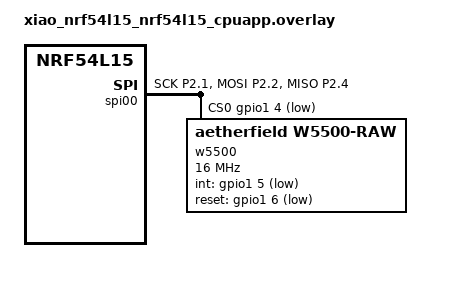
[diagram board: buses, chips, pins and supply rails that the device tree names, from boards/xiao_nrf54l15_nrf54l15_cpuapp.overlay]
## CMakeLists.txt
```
cmake_minimum_required(VERSION 3.20.0)
find_package(Zephyr REQUIRED HINTS $ENV{ZEPHYR_BASE})

project(pixel-gateway)

# aura_radio.h — the source of truth for the wire format. Shared with the
# device firmware so the two cannot drift.
target_include_directories(app PRIVATE ${CMAKE_CURRENT_SOURCE_DIR}/../../include)

target_sources(app PRIVATE
  src/main.c
  src/w5500.c
  src/link.c
  src/status.c
  src/link_cfg.c
)
```

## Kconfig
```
# Aetherfield gateway application options.
#
# GW_INDEX is a Kconfig symbol rather than a bare #define so it can be set from
# a .conf fragment per build configuration. That matters when flashing several
# gateways in a row: editing a header between builds is how two gateways end up
# both claiming 10.10.0.11, which works perfectly until all of them are live.

menu "Aetherfield gateway"

config GW_INDEX
	int "Gateway index within this server's group (1..30)"
	default 1
	range 1 30
	help
	  Sets three things at once, all of which must be unique per gateway:
	    the HELLO name     gw-01 .. gw-30
	    the static IP      10.10.0.11 .. 10.10.0.40
	    the TCP source port 50001 .. 50030

	  It ALSO sets this gateway's slot in the downlink stagger, so at 30
	  gateways they do not all transmit the same command on the same
	  millisecond. See GW_CMD_STAGGER_MS in gw_config.h.

	  Pick it with an extra Kconfig fragment (gw01.conf, gw02.conf, ...)
	  rather than by editing a file, so every gateway builds from identical
	  source.

endmenu

source "Kconfig.zephyr"
```

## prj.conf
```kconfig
# Aetherfield Pixel gateway — XIAO nRF54LM20A + W5500.
#
# Note what is NOT here: CONFIG_NET_L2_ETHERNET, CONFIG_NET_IPV4,
# CONFIG_NET_SOCKETS. The W5500 runs its own TCP stack in silicon and we drive
# it over SPI, so Zephyr's networking subsystem stays out of the image. That is
# what lets the 802.15.4 raw path keep owning net_recv_data() — turning on the
# IP stack would put Zephyr's Ethernet driver in the same symbol.

# --- 802.15.4 raw mode: unchanged from the working gateway firmware ---------
CONFIG_NETWORKING=y
CONFIG_IEEE802154=y
CONFIG_IEEE802154_RAW_MODE=y
CONFIG_NET_PKT_TIMESTAMP=y
CONFIG_NRF_802154_RX_BUFFERS=48

# net_recv_data() — our frame handler — runs on this driver thread, and it
# formats and queues a telemetry line per frame. The stock 1024 bytes is sized
# for a driver that hands the packet straight up a stack, not for one that does
# work in place. Headroom here is cheap; a stack overflow on the first received
# frame is not.
CONFIG_IEEE802154_NRF5_RX_STACK_SIZE=2048

CONFIG_MAIN_STACK_SIZE=2048
CONFIG_HEAP_MEM_POOL_SIZE=8192

# --- W5500 ------------------------------------------------------------------
CONFIG_SPI=y
CONFIG_GPIO=y
# MAC address is derived from the SoC's factory device ID.
CONFIG_HWINFO=y

# --- console / shell --------------------------------------------------------
# The shell is not a convenience here: link.c routes every inbound server
# command through shell_execute_cmd(), so the command table IS the network
# command surface. Disabling the shell disables downlink.
CONFIG_SHELL=y
CONFIG_SHELL_BACKEND_SERIAL=y
# Required for downlink. link.c runs server commands on the dummy backend;
# without this, shell_execute_cmd() refuses every command with -EINVAL and the
# failure looks exactly like a malformed argument list.
CONFIG_SHELL_BACKEND_DUMMY=y
CONFIG_SHELL_VT100_COLORS=n
# Async telemetry from the radio thread interleaves with the shell prompt, and
# the shell redraws it with VT100 cursor moves that land mid-line and break any
# parser reading it.
CONFIG_SHELL_VT100_COMMANDS=n

CONFIG_LOG=y
CONFIG_LOG_MODE_DEFERRED=y

# RF switch power/control are regulator-fixed nodes with regulator-boot-on;
# without this the RF switch IC is never powered and there is NO antenna path.
CONFIG_REGULATOR=y

# --- persistent network config (src/link_cfg.c) -----------------------------
# Set over USB with `link set ...` / `link save`, kept across reboots. ZMS is
# the store Nordic recommends for the nRF54's RRAM. The partition manager
# carves a settings_storage partition out automatically.
CONFIG_FLASH=y
CONFIG_FLASH_MAP=y
CONFIG_ZMS=y
CONFIG_SETTINGS=y
CONFIG_SETTINGS_ZMS=y
CONFIG_REBOOT=y
```

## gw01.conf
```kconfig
# Gateway 1: 10.10.0.11, HELLO gw-01, source port 50001, stagger slot 0.
CONFIG_GW_INDEX=1
```

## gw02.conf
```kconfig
# Gateway 2: 10.10.0.12, HELLO gw-02, source port 50002, stagger slot 1.
CONFIG_GW_INDEX=2
```

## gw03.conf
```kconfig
# Gateway 3: 10.10.0.13, HELLO gw-03, source port 50003, stagger slot 2.
CONFIG_GW_INDEX=3
```

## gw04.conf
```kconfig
# Gateway 4: 10.10.0.14, HELLO gw-04, source port 50004, stagger slot 3.
CONFIG_GW_INDEX=4
```

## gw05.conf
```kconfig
# Gateway 5: 10.10.0.15, HELLO gw-05, source port 50005, stagger slot 4.
CONFIG_GW_INDEX=5
```

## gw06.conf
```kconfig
# Gateway 6: 10.10.0.16, HELLO gw-06, source port 50006, stagger slot 5.
CONFIG_GW_INDEX=6
```

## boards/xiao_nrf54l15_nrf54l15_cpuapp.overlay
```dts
/*
 * Fallback board target: Seeed XIAO nRF54L15 + Adafruit W5500.
 *
 * Identical harness. The XIAO header pinout is the same physical connector on
 * both boards, so nothing needs rewiring to swap between them — only the SoC
 * pins behind those header positions differ:
 *
 *   header    nRF54L15        nRF54LM20A
 *   D8  SCK   P2.01           P1.04
 *   D9  MISO  P2.04           P1.05
 *   D10 MOSI  P2.02           P1.06
 *   D0  CS    P1.04           P1.00
 *   D1  INT   P1.05           P1.31
 *   D2  RST   P1.06           P1.30
 *
 * This target exists because the nRF54LM20A needs nRF Connect SDK 3.2.4 or
 * later, and the radio code in main.c was proven on 3.0.1. Building here keeps
 * the SDK constant while the Ethernet path is brought up, so a failure is
 * unambiguously the new code rather than the new SDK.
 *
 * Power the breakout from 5V, not 3V3 — the W5500 pulls ~150 mA with the link
 * up.
 */

/ {
	chosen {
		/* uart20 is bridged to USB-C by the onboard SAMD11. */
		zephyr,console = &uart20;
		zephyr,shell-uart = &uart20;
	};
};

&pinctrl {
	spi00_default: spi00_default {
		group1 {
			psels = <NRF_PSEL(SPIM_SCK, 2, 1)>,    /* D8  */
				<NRF_PSEL(SPIM_MOSI, 2, 2)>,   /* D10 */
				<NRF_PSEL(SPIM_MISO, 2, 4)>;   /* D9  */
		};
	};

	spi00_sleep: spi00_sleep {
		group1 {
			psels = <NRF_PSEL(SPIM_SCK, 2, 1)>,
				<NRF_PSEL(SPIM_MOSI, 2, 2)>,
				<NRF_PSEL(SPIM_MISO, 2, 4)>;
			low-power-enable;
		};
	};
};

&spi00 {
	status = "okay";
	pinctrl-0 = <&spi00_default>;
	pinctrl-1 = <&spi00_sleep>;
	pinctrl-names = "default", "sleep";

	cs-gpios = <&gpio1 4 GPIO_ACTIVE_LOW>;   /* D0 */

	w5500: w5500@0 {
		compatible = "aetherfield,w5500-raw";
		reg = <0>;
		spi-max-frequency = <16000000>;
		int-gpios   = <&gpio1 5 GPIO_ACTIVE_LOW>;   /* D1 */
		reset-gpios = <&gpio1 6 GPIO_ACTIVE_LOW>;   /* D2 */
	};
};
```

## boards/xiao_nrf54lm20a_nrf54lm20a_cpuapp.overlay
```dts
/*
 * Aetherfield Pixel gateway — Seeed XIAO nRF54LM20A on the Seeed XIAO W5500
 * Ethernet Adapter.
 *
 * The adapter's wiring is fixed, so there is nothing to choose here:
 *
 *   W5500 SCK   D8    P1.04   |
 *   W5500 MISO  D9    P1.05   |  spi23, the XIAO SPI header
 *   W5500 MOSI  D10   P1.06   |
 *   W5500 CS    D1    P1.31
 *   W5500 INT   not routed    the driver polls, so this costs us nothing
 *   W5500 RST   not routed    software reset (MR bit 7) brings the chip up
 *
 * Power comes from the adapter — PoE stepped down by its TPS563201, or its own
 * USB-C — so the earlier warning about not feeding the breakout from the
 * XIAO's 3V3 regulator no longer applies.
 *
 * For a hand-wired build instead of this adapter, CS/INT/RST were on D0/D1/D2
 * (P1.00 / P1.31 / P1.30); add int-gpios and reset-gpios back and the driver
 * will use the hard reset.
 *
 * Note spi23, not spi00. On this board the XIAO SPI header is spi23, aliased
 * xiao_spi; spi00 is a different instance and is not brought out.
 *
 * D6/D7 are left alone so uart21 stays available as a second console. The
 * board already chooses uart20 (bridged to USB-C by the onboard SAMD11) for
 * console and shell, and already sets zephyr,ieee802154 — so neither needs
 * declaring here.
 */

&xiao_spi {
	status = "okay";

	/* The adapter ties CS to D1. This is the whole list; the W5500 is
	 * entry 0. */
	cs-gpios = <&gpio1 31 GPIO_ACTIVE_LOW>;   /* D1 */

	w5500: w5500@0 {
		compatible = "aetherfield,w5500-raw";
		reg = <0>;
		/* 16 MHz. The part will do far more, but leave margin for a
		 * stacked carrier board. */
		spi-max-frequency = <16000000>;

		/* No int-gpios: INT is not routed on this adapter, and the
		 * driver polls anyway.
		 * No reset-gpios: RSTn is not routed either, so w5500_init()
		 * uses the chip's software reset. */
	};
};

/*
 * Native USB off.
 *
 * Disable the WRAPPER, not just the device. The SoC devicetree nests them:
 *
 *   usbhs_wrapper@5a000   compatible "nordic,nrf-usbhs-wrapper"
 *     regulator = <&vregusb>
 *     usbhs@20000         compatible "nordic,nrf-usbhs-nrf54l", aliased
 *                         zephyr_udc0, which is what the board turns on
 *
 * Disabling only the inner usbhs leaves the wrapper enabled by default, and
 * the wrapper's driver does DEVICE_DT_GET on its `regulator` phandle. With no
 * USB stack in the build the VREGUSB device is never instantiated, so the
 * reference does not resolve and the build dies with
 * '__device_dts_ord_162 undeclared' — which reads like devicetree corruption
 * and is really an unused driver reaching for a device that isn't there.
 *
 * We have no use for native USB: the console reaches USB-C through the onboard
 * SAMD11 on uart20, and the server link is Ethernet.
 */
&usbhs_wrapper {
	status = "disabled";
};

&usbhs {
	status = "disabled";
};

/*
 * The board's IMU is not fitted on the plain (non-Sense) XIAO, so its driver
 * fails at boot with "LSM6DSL: Failed to initialize chip". Harmless, but an
 * error line on every boot of event infrastructure trains people to ignore
 * error lines. The gateway has no use for an IMU either way.
 */
&lsm6ds3tr_c {
	status = "disabled";
};
```

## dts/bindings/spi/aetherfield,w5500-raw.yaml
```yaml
# WIZnet W5500 addressed directly through its own hardware TCP sockets.
#
# Deliberately NOT "wiznet,w5500": that compatible binds Zephyr's Ethernet
# driver, which pushes frames up the IP stack through net_recv_data() — the
# same symbol the raw 802.15.4 receive path already owns. Driving the W5500's
# on-chip TCP stack instead keeps Zephyr networking out of the image entirely,
# so the radio code needs no changes at all.

description: WIZnet W5500 driven via its on-chip TCP/IP stack

compatible: "aetherfield,w5500-raw"

include: spi-device.yaml

properties:
  int-gpios:
    type: phandle-array
    required: false
    description: >
      W5500 INTn, active low. Unused — the driver polls. Seeed's XIAO W5500
      adapter does not route it at all.

  reset-gpios:
    type: phandle-array
    required: false
    description: >
      W5500 RSTn, active low, held low >500us. OPTIONAL: Seeed's XIAO W5500
      adapter does not route it. When absent the driver relies on the chip's
      software reset (MR bit 7), which is sufficient — the hard reset is only
      belt and braces for flying-lead builds.
```

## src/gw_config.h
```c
/*
 * Per-gateway configuration.
 *
 * Static addressing, deliberately. On a dedicated event LAN there is no DHCP
 * server worth depending on at 3am, and a fixed address means "which gateway
 * is that" is answerable from a switch port. The last octet is the gateway
 * number plus ten, so gw-01 is .11 and gw-30 is .40.
 *
 * Override any of these at build time without editing the file:
 *   west build -- -DCONFIG_... no; these are plain defines, so use:
 *   -DEXTRA_CFLAGS="-DGW_INDEX=2"
 */
#ifndef GW_CONFIG_H
#define GW_CONFIG_H

/*
 * 1..30 within a server's group. Sets the IP, the HELLO name, the source port
 * and the downlink stagger slot.
 *
 * Set it with a Kconfig fragment — gw01.conf .. gw30.conf — so every gateway
 * builds from identical source and nothing has to be edited between flashes.
 * The plain -DGW_INDEX= route still works for a one-off from the command line.
 */
#ifndef GW_INDEX
#ifdef CONFIG_GW_INDEX
#define GW_INDEX CONFIG_GW_INDEX
#else
#define GW_INDEX 1
#endif
#endif

/* Server (the Beelink) and the port aetherfield-pixel listens on. */
#define GW_SERVER_IP    "10.10.0.1"
#define GW_SERVER_PORT  9000

/* This gateway. */
#define GW_IP_PREFIX    "10.10.0."
#define GW_IP_BASE      10          /* + GW_INDEX  ->  10.10.0.11 for gw-01 */
#define GW_NETMASK      "255.255.255.0"
#define GW_ROUTER       "10.10.0.254"

/* Local TCP source port. Distinct per gateway only to make packet captures
 * easier to read; the server does not care. */
#define GW_LOCAL_PORT   (50000 + GW_INDEX)

/*
 * Link timings, from docs/PROTOCOL.md.
 *   PING when idle so NAT and switch state stay alive and both ends get a
 *   liveness signal; reconnect forever, because the server never dials out
 *   and a gateway that gives up is gone until someone power-cycles it.
 */
#define GW_PING_INTERVAL_MS   25000
#define GW_RECONNECT_MIN_MS   500
#define GW_RECONNECT_MAX_MS   15000

/*
 * Downlink stagger.
 *
 * The server broadcasts one command and every gateway receives it within a
 * few milliseconds of every other. Each then transmits AURA_CMD_REPEAT frames.
 * At three gateways that is invisible; at thirty it is 90 frames inside 75 ms
 * from thirty transmitters that can all hear each other, so they collide with
 * each other AND jam every device beacon in the building — at precisely the
 * moment the show is trying to change colour.
 *
 * Each gateway therefore waits (GW_INDEX - 1) * this before its first frame.
 * At 30 gateways that spreads transmission over 87 ms, which is below the
 * threshold at which a crowd reads a colour change as anything but
 * simultaneous.
 *
 * Better still, and the reason SYNC carries epoch_ms: send the apply-time
 * with the command so devices act together regardless of which gateway
 * reached them and when. The stagger fixes the collisions; the epoch fixes
 * the simultaneity. They are complementary, not alternatives.
 */
#define GW_CMD_STAGGER_MS     3

/*
 * Outbound line buffer.
 *
 * 4096 was sized for "a few hundred devices at 10 s", which is a few hundred
 * bytes a second. A gateway hearing 3,000 devices emits a '<BCN' and its
 * legacy 'NODE:' twin per beacon — around 86 kB/s at 675 beacons/s — and 4 kB
 * is then 48 ms of slack. Any hiccup longer than that starts discarding
 * telemetry, and because the drop policy is oldest-first the loss is silent.
 *
 * 16 kB is ~190 ms at that rate: enough to ride out a command's transmit
 * gaps and a slow socket write, and still trivial against this SoC's RAM.
 */
#define GW_TXQ_BYTES          16384
#define GW_LINE_MAX           256

/*
 * Console mirror budget, in lines per second.
 *
 * gw_emit() mirrors every telemetry line to the UART so a human on USB sees
 * what the server sees. At 115200 baud that is about 90 short lines a second,
 * full stop — and a gateway hearing 3,000 devices produces many times that.
 * printk() then blocks the radio receive thread and the gateway drops frames,
 * which looks exactly like RF saturation and is not.
 *
 * Above this budget the mirror starts dropping lines and says so once a
 * second. The LINK is never throttled: the server still gets everything. Only
 * the human's view degrades, which is the correct thing to sacrifice.
 */
#define GW_MIRROR_MAX_LPS     40

/*
 * The legacy 'NODE: id=...' twin.
 *
 * Every beacon used to emit two lines: the structured '<BCN' the pixel server
 * parses, and this one, which exists for pi-bridge's parseTelemetryLine().
 * The pixel and stress servers both speak v2 and explicitly discard NODE:
 * lines, so on this deployment the twin is pure cost — and it is not a small
 * one. It doubles the vsnprintk work on the 802.15.4 receive thread, doubles
 * the bytes through the txq, and doubles what the socket has to carry. At
 * 3,000 devices that is the difference between ~43 kB/s and ~86 kB/s, and the
 * txq overruns that produced 'line too long' disconnects were half this line.
 *
 * Off by default. Set to 1 for a deployment that still runs pi-bridge.
 */
#ifndef GW_LEGACY_NODE_LINE
#define GW_LEGACY_NODE_LINE   0
#endif

/* Reported in HELLO and on the console banner. */
#define GW_FW_VERSION         "aura-link-1.2.0"

#endif /* GW_CONFIG_H */
```

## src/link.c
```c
/*
 * Server link. See link.h.
 *
 * One thread owns the socket and does everything on it, so there is no locking
 * around the W5500 beyond the outbound ring buffer. Telemetry producers (the
 * radio receive path, the shell) only ever push bytes into that ring.
 *
 * Inbound lines are handed to the Zephyr shell with shell_execute_cmd(). That
 * is deliberate and it is the reason this file is short: every command the
 * server can send — 'aura cmd ...', 'aura op ...', 'aura identify ...' — is
 * already implemented as a shell command in main.c, tested from the console,
 * and now reachable from the network with no duplicate parser to drift.
 */

#include <zephyr/kernel.h>
#include <zephyr/shell/shell.h>
#include <zephyr/shell/shell_dummy.h>
#include <zephyr/sys/ring_buffer.h>
#include <zephyr/sys/printk.h>
#include <zephyr/logging/log.h>
#include <stdarg.h>
#include <stdio.h>
#include <string.h>

#include "link.h"
#include "status.h"
#include "link_cfg.h"
#include "w5500.h"
#include "gw_config.h"

LOG_MODULE_REGISTER(link, CONFIG_LOG_DEFAULT_LEVEL);

#define STACK_SIZE 3072
#define PRIORITY   6

static K_THREAD_STACK_DEFINE(link_stack, STACK_SIZE);
static struct k_thread link_thread_data;

RING_BUF_DECLARE(txq, GW_TXQ_BYTES);
static K_MUTEX_DEFINE(txq_lock);

static atomic_t g_up = ATOMIC_INIT(0);

/* Assembled-but-unsent partial line from gw_emit(). */
static char   g_line[GW_LINE_MAX];
static size_t g_line_len;
static K_MUTEX_DEFINE(line_lock);

static char g_gw_name[LINK_NAME_MAX + 1];

/*
 * Console mirror budget — a token bucket refilled once a second.
 *
 * The mirror exists so a human on USB sees exactly what the server sees, and
 * that is worth a lot when the two disagree. It is worth nothing at all if
 * printk() blocking on a full 115200 UART stalls the radio receive thread and
 * the gateway starts dropping frames, because then the human is watching an
 * artefact of their own console.
 *
 * So the mirror is best-effort and the LINK is not: the server receives every
 * line regardless. Only the local view degrades, and it says so rather than
 * quietly thinning out.
 */
static uint32_t g_mirror_sec;
static uint16_t g_mirror_budget;
static uint32_t g_mirror_dropped;
static int32_t  g_mirror_limit = GW_MIRROR_MAX_LPS;   /* <0 disables mirroring */

void gw_mirror_limit(int32_t lines_per_sec)
{
	g_mirror_limit = lines_per_sec;
}

/* Returns true if this line may go to the console. */
static bool mirror_allowed(void)
{
	if (g_mirror_limit < 0) {
		return false;
	}

	uint32_t sec = k_uptime_get_32() / 1000u;

	if (sec != g_mirror_sec) {
		if (g_mirror_dropped) {
			/* One line a second, itself inside the budget, so the
			 * warning can never become the flood it is warning
			 * about. */
			printk("... %u console lines dropped (budget %d/s; "
			       "the server still has them all)\n",
			       g_mirror_dropped, g_mirror_limit);
		}
		g_mirror_sec = sec;
		g_mirror_budget = (uint16_t)g_mirror_limit;
		g_mirror_dropped = 0;
	}

	if (g_mirror_budget == 0) {
		g_mirror_dropped++;
		return false;
	}
	g_mirror_budget--;
	return true;
}

bool link_up(void)
{
	return atomic_get(&g_up) != 0;
}

/* ---- outbound ----------------------------------------------------------- */

/* Lines discarded to make room, and when we last said so. */
static uint32_t g_txq_dropped;
static uint32_t g_txq_warn_sec;

/*
 * Discard exactly one whole line from the front of the queue.
 *
 * THIS MUST NOT DROP PARTIAL LINES.
 *
 * The queue is a byte ring, and the obvious implementation — discard N oldest
 * bytes until the new line fits — silently destroys framing: it cuts a line
 * in half, so the receiver gets the tail of one line immediately followed by
 * the head of the next with no newline between them. The server then keeps
 * accumulating, finds no newline within MAX_LINE (4096), concludes it is not
 * talking to a gateway, and drops the connection with "line too long". The
 * gateway reconnects, and every command sent during the gap is lost.
 *
 * That failure looks like three unrelated problems — commands arriving late,
 * the gateway flickering between healthy and stale, and occasional missing
 * telemetry — and it is one bug. It only appears under sustained load, which
 * is exactly when nobody wants to be debugging it.
 *
 * Whole lines in, whole lines out. Returns bytes discarded.
 */
static uint32_t drop_oldest_line(void)
{
	uint32_t total = 0;

	for (;;) {
		uint8_t *data;
		uint32_t n = ring_buf_get_claim(&txq, &data, GW_TXQ_BYTES);

		if (n == 0) {
			ring_buf_get_finish(&txq, 0);
			return total;           /* ring empty */
		}

		uint32_t take = n;
		bool found = false;

		for (uint32_t i = 0; i < n; i++) {
			if (data[i] == '\n') {
				take = i + 1;
				found = true;
				break;
			}
		}
		ring_buf_get_finish(&txq, take);
		total += take;

		if (found) {
			return total;
		}
		/* claim stopped at the ring wrap; continue into the rest. */
	}
}

static void txq_put(const char *s, size_t len)
{
	k_mutex_lock(&txq_lock, K_FOREVER);

	/*
	 * If the queue is full the link is down or the server has stopped
	 * reading. Drop the OLDEST lines, not the newest: current presence is
	 * worth more than a backlog of stale beacons, and dropping the new
	 * line would mean the first thing the server sees after a stall is
	 * already out of date.
	 */
	while (ring_buf_space_get(&txq) < len) {
		if (drop_oldest_line() == 0) {
			break;                  /* nothing left to give */
		}
		g_txq_dropped++;
	}

	ring_buf_put(&txq, (const uint8_t *)s, len);

	/* Say so, at most once a second, so shedding is never silent. */
	uint32_t sec = k_uptime_get_32() / 1000u;

	if (g_txq_dropped && sec != g_txq_warn_sec) {
		g_txq_warn_sec = sec;
		LOG_WRN("uplink saturated: %u telemetry line(s) dropped",
			g_txq_dropped);
		g_txq_dropped = 0;
	}

	k_mutex_unlock(&txq_lock);
}

/*
 * Formatting scratch. STATIC, not on the stack, and that is not a style
 * choice.
 *
 * gw_emit() is called from net_recv_data(), which the 802.15.4 driver invokes
 * on its own nrf5_rx thread — a driver thread sized for a driver's needs, not
 * for a 256-byte buffer plus a vsnprintk frame. A local array here overflows
 * that stack on the first frame received and halts the CPU, which presents as
 * the gateway dying the instant a device comes into range.
 *
 * line_lock already serialises this function, so one shared buffer is safe.
 */
static char g_chunk[GW_LINE_MAX];

void gw_emit(const char *fmt, ...)
{
	va_list ap;

	k_mutex_lock(&line_lock, K_FOREVER);

	va_start(ap, fmt);
	int n = vsnprintk(g_chunk, sizeof(g_chunk), fmt, ap);
	va_end(ap);

	if (n <= 0) {
		k_mutex_unlock(&line_lock);
		return;
	}
	if (n >= (int)sizeof(g_chunk)) {
		n = sizeof(g_chunk) - 1;
	}

	/* Mirror to the local console so a human on USB still sees telemetry
	 * when the link is down — which is exactly when they will be looking.
	 * Budgeted, because at fleet scale this UART is an order of magnitude
	 * slower than the radio, and printk() backpressure here stalls the
	 * receive thread and drops frames. The LINK is never throttled. */
	if (mirror_allowed()) {
		printk("%s", g_chunk);
	}

	for (int i = 0; i < n; i++) {
		char c = g_chunk[i];

		if (g_line_len < sizeof(g_line) - 1) {
			g_line[g_line_len++] = c;
		}
		if (c == '\n') {
			txq_put(g_line, g_line_len);
			g_line_len = 0;
		}
	}
	k_mutex_unlock(&line_lock);
}

/* Send a control line immediately, bypassing the queue's drop policy. */
static int send_now(const char *s)
{
	size_t len = strlen(s);
	size_t sent = 0;

	while (sent < len) {
		int n = w5500_send((const uint8_t *)s + sent, len - sent);

		if (n < 0) {
			return n;
		}
		if (n == 0) {
			k_msleep(2);
			continue;
		}
		sent += n;
	}
	return 0;
}

/*
 * Send at most this many chunks before returning, so the caller can service
 * receive.
 *
 * drain_txq() used to loop until the ring was empty. That is fine at a few
 * hundred bytes a second and actively harmful at fleet scale: the radio
 * receive thread runs at a HIGHER priority than this one and refills the ring
 * faster than the W5500 empties it, so the loop rarely terminates — and
 * pump_rx(), where inbound commands are read, only runs after it does.
 * Downlink latency then scales with uplink backlog, which is precisely
 * backwards. A command sent while 1,300 telemetry lines a second are flowing
 * would sit behind all of them.
 *
 * 32 chunks is 8 kB, comfortably more than one pass of telemetry, so under
 * normal load the behaviour is unchanged.
 */
#define DRAIN_MAX_CHUNKS 32

static int drain_txq(void)
{
	uint8_t buf[256];

	for (int chunk = 0; chunk < DRAIN_MAX_CHUNKS; chunk++) {
		k_mutex_lock(&txq_lock, K_FOREVER);
		uint32_t n = ring_buf_get(&txq, buf, sizeof(buf));
		k_mutex_unlock(&txq_lock);

		if (n == 0) {
			return 0;
		}

		uint32_t sent = 0;

		while (sent < n) {
			int w = w5500_send(buf + sent, n - sent);

			if (w < 0) {
				return w;
			}
			if (w == 0) {
				k_msleep(2);
				continue;
			}
			sent += w;
		}
	}
	return 0;
}

/* ---- inbound ------------------------------------------------------------ */

static void handle_line(char *line)
{
	/* Trim CR and trailing space so a line typed into a telnet session
	 * behaves the same as one from the server. */
	size_t len = strlen(line);

	while (len && (line[len - 1] == '\r' || line[len - 1] == ' ')) {
		line[--len] = '\0';
	}
	if (len == 0) {
		return;
	}

	if (strcmp(line, "PING") == 0) {
		send_now("PONG\n");
		return;
	}
	if (strcmp(line, "PONG") == 0) {
		return;
	}

	/*
	 * Anything else is a gateway shell command.
	 *
	 * Run it on the DUMMY backend, not the interactive one, and never pass
	 * NULL: shell_execute_cmd(NULL, ...) returns -EINVAL without executing
	 * anything unless CONFIG_SHELL_BACKEND_DUMMY is set, which is a silent
	 * and very convincing way to make every downlink command look like a
	 * bad argument list.
	 *
	 * The dummy backend also keeps network commands off the UART shell's
	 * state, so a human typing at the console during a show cannot collide
	 * with a command arriving from the server.
	 *
	 * Output is captured and logged rather than returned to the server. The
	 * server learns what actually happened from the next round of beacons,
	 * which carry the CMD seq each device applied — a better acknowledgement
	 * than the gateway saying "I sent it".
	 */
	const struct shell *sh = shell_backend_dummy_get_ptr();

	if (sh == NULL) {
		LOG_ERR("no dummy shell backend — CONFIG_SHELL_BACKEND_DUMMY?");
		return;
	}

	shell_backend_dummy_clear_output(sh);

	int err = shell_execute_cmd(sh, line);

	size_t out_len = 0;
	const char *out = shell_backend_dummy_get_output(sh, &out_len);

	if (err) {
		LOG_WRN("'%s' -> %d", line, err);
	}
	if (out && out_len > 0) {
		LOG_INF("%s", out);
	}
}

static void pump_rx(void)
{
	static char acc[GW_LINE_MAX];
	static size_t acc_len;
	uint8_t buf[256];

	for (;;) {
		int n = w5500_recv(buf, sizeof(buf));

		if (n <= 0) {
			return;
		}
		for (int i = 0; i < n; i++) {
			char c = (char)buf[i];

			if (c == '\n') {
				acc[acc_len] = '\0';
				handle_line(acc);
				acc_len = 0;
			} else if (acc_len < sizeof(acc) - 1) {
				acc[acc_len++] = c;
			} else {
				/* Over-long line. The protocol says the server
				 * drops a connection that sends one; we just
				 * discard and resynchronise at the next newline
				 * rather than tearing down a link mid-show over
				 * one bad line. */
				acc_len = 0;
			}
		}
	}
}

/* ---- thread ------------------------------------------------------------- */

static void link_thread(void *a, void *b, void *c)
{
	ARG_UNUSED(a); ARG_UNUSED(b); ARG_UNUSED(c);

	char ip[16];
	uint32_t backoff = GW_RECONNECT_MIN_MS;

	const struct link_cfg *cfg = link_cfg();
	char mask[16], router[16], server[16];

	strncpy(g_gw_name, link_cfg_name(), sizeof(g_gw_name) - 1);
	link_cfg_ip_str(cfg->ip, ip, sizeof(ip));
	link_cfg_ip_str(cfg->mask, mask, sizeof(mask));
	link_cfg_ip_str(cfg->router, router, sizeof(router));
	link_cfg_ip_str(cfg->server, server, sizeof(server));
	const uint16_t server_port = cfg->server_port;
	const uint16_t local_port = 50000 + cfg->index;

	status_set(STATUS_BOOT);
	while (w5500_init(ip, mask, router) < 0) {
		status_set(STATUS_FAULT);
		LOG_ERR("W5500 init failed; retrying in 5 s");
		k_msleep(5000);
	}

	for (;;) {
		atomic_set(&g_up, 0);

		if (!w5500_link_up()) {
			status_set(STATUS_NO_ETH);
			LOG_WRN("no Ethernet link — check the cable");
			while (!w5500_link_up()) {
				k_msleep(500);
			}
			LOG_INF("Ethernet link up");
		}

		status_set(STATUS_NO_SERVER);
		LOG_INF("connecting to %s:%d as %s",
			server, server_port, g_gw_name);
		w5500_connect(server, server_port, local_port);

		/* Bounded handshake window rather than blocking forever on a
		 * server that is not up yet. */
		int waited = 0;

		while (w5500_state() == W5500_CONNECTING && waited < 5000) {
			k_msleep(50);
			waited += 50;
		}

		if (w5500_state() != W5500_ESTABLISHED) {
			uint8_t sr = 0, ir = 0;

			w5500_diag(&sr, &ir);

			/*
			 * Say WHICH failure this is. The two look identical in
			 * a log that only says "connect failed", and they send
			 * you to opposite ends of the system.
			 */
			if (ir & 0x08) {          /* Sn_IR TIMEOUT */
				LOG_WRN("no answer from %s:%d — check the "
					"server's IP and that it is on this "
					"subnet (SR=0x%02X IR=0x%02X)",
					server, server_port, sr, ir);
			} else {
				LOG_WRN("%s:%d refused the connection — host "
					"is reachable but nothing is listening "
					"on that port (SR=0x%02X IR=0x%02X)",
					server, server_port, sr, ir);
			}
			w5500_close();
			LOG_WRN("retry in %u ms", backoff);
			k_msleep(backoff);
			backoff = MIN(backoff * 2, GW_RECONNECT_MAX_MS);
			continue;
		}

		/* HELLO first on every connect. Until it arrives the server can
		 * only identify us by IP and its console shows '(no HELLO)'. */
		char hello[64];

		snprintk(hello, sizeof(hello), "HELLO gw=%s fw=%s proto=2\n",
			 g_gw_name, GW_FW_VERSION);
		if (send_now(hello) < 0) {
			w5500_close();
			continue;
		}

		LOG_INF("link established");
		status_set(STATUS_ONLINE);
		atomic_set(&g_up, 1);
		backoff = GW_RECONNECT_MIN_MS;

		int64_t last_tx = k_uptime_get();

		while (w5500_state() == W5500_ESTABLISHED) {
			/*
			 * RECEIVE FIRST.
			 *
			 * A command the server sent should be acted on now, not
			 * after however much telemetry happens to be queued.
			 * Under load the two orderings differ by hundreds of
			 * milliseconds, and the visible symptom is a fleet that
			 * changes colour late — or looks like it missed the
			 * command entirely.
			 */
			pump_rx();

			if (drain_txq() < 0) {
				break;
			}

			if (!ring_buf_is_empty(&txq)) {
				last_tx = k_uptime_get();
			} else if (k_uptime_get() - last_tx >
				   GW_PING_INTERVAL_MS) {
				if (send_now("PING\n") < 0) {
					break;
				}
				last_tx = k_uptime_get();
			}
			k_msleep(5);
		}

		atomic_set(&g_up, 0);
		status_set(STATUS_NO_SERVER);
		LOG_WRN("link lost; reconnecting");
		w5500_close();
		k_msleep(backoff);
		backoff = MIN(backoff * 2, GW_RECONNECT_MAX_MS);
	}
}

int link_init(void)
{
	k_thread_create(&link_thread_data, link_stack, STACK_SIZE,
			link_thread, NULL, NULL, NULL,
			PRIORITY, 0, K_NO_WAIT);
	k_thread_name_set(&link_thread_data, "gwlink");
	return 0;
}
```

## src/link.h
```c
/*
 * Server link: the gateway half of the line protocol in docs/PROTOCOL.md.
 *
 * Newline-delimited UTF-8 over one long-lived TCP connection. The gateway
 * dials the server; the server never dials out. Same text the gateway used to
 * print to the UART for the Pi bridge, so this was a transport swap and not a
 * protocol change.
 */
#ifndef LINK_H
#define LINK_H

#include <stdbool.h>
#include <stdint.h>

/* Start the link thread. Returns immediately; the thread brings the W5500 up,
 * connects, and reconnects forever. */
int link_init(void);

/* True once the socket is established and HELLO has gone out. */
bool link_up(void);

/*
 * Emit one line of telemetry. Printf semantics. Output is buffered until a
 * '\n' arrives, then the completed line goes to the server AND to the local
 * console, so a human on USB sees exactly what the server sees.
 *
 * Safe to call from any thread, including the radio receive path.
 */
void gw_emit(const char *fmt, ...);

/*
 * Console mirror budget, lines per second. Negative disables mirroring
 * entirely; the server link is unaffected either way.
 *
 * Set it low (or off) before a scale test: a gateway hearing thousands of
 * devices produces far more telemetry than 115200 baud can carry, and the
 * resulting printk() backpressure stalls the radio receive thread. That
 * presents as packet loss and is really a serial port.
 */
void gw_mirror_limit(int32_t lines_per_sec);

#endif /* LINK_H */
```

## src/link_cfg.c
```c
/*
 * Aura Link network configuration, set over USB and kept across reboots.
 *
 * One firmware image for every Link. What used to be compiled in per unit
 * (gw01.conf .. gw30.conf) is now four settings, typed once at the USB
 * console and stored in the SoC's non-volatile memory:
 *
 *   link config                          show current + saved values
 *   link set name <name>                 how this Link appears in Aura Server
 *   link set index <1-30>                downlink stagger slot (and gw-NN if unnamed)
 *   link set ip <ip> [mask] [router]     this Link's static address
 *   link set server <ip> [port]          where Aura Server is listening
 *   link save                            write to NVM
 *   link reboot                          apply
 *   link defaults                        forget everything saved
 *
 * Nothing applies until reboot, deliberately. Changing the address under a
 * live TCP connection would need the link thread to tear down and rebuild,
 * and the one time it matters is on a bench with a USB cable attached, where
 * a two-second reboot costs nothing and is obviously correct.
 *
 * Defaults are the old compiled-in behaviour: index from CONFIG_GW_INDEX,
 * 10.10.0.(10+index)/24, server 10.10.0.1:9000. A Link that has never been
 * configured therefore still works on the original dedicated-subnet setup.
 *
 * These commands are also reachable from Aura Server, because downlink IS the
 * shell. Be careful doing that: set a wrong server address remotely and the
 * Link can only be recovered over USB.
 */

#include <zephyr/kernel.h>
#include <zephyr/settings/settings.h>
#include <zephyr/shell/shell.h>
#include <zephyr/sys/reboot.h>
#include <zephyr/logging/log.h>
#include <stdio.h>
#include <stdlib.h>
#include <string.h>

#include "gw_config.h"
#include "link_cfg.h"

LOG_MODULE_REGISTER(link_cfg, CONFIG_LOG_DEFAULT_LEVEL);

static struct link_cfg g_cfg;        /* what this boot is running with */
static struct link_cfg g_pending;    /* edits, until save */
static bool g_loaded_from_nvm;

static void defaults(struct link_cfg *c)
{
	memset(c, 0, sizeof(*c));
	c->index = GW_INDEX;
	c->ip[0] = 10; c->ip[1] = 10; c->ip[2] = 0; c->ip[3] = (uint8_t)(GW_IP_BASE + GW_INDEX);
	c->mask[0] = 255; c->mask[1] = 255; c->mask[2] = 255; c->mask[3] = 0;
	c->router[0] = 10; c->router[1] = 10; c->router[2] = 0; c->router[3] = 254;
	c->server[0] = 10; c->server[1] = 10; c->server[2] = 0; c->server[3] = 1;
	c->server_port = GW_SERVER_PORT;
	c->version = LINK_CFG_VERSION;
}

/* ---- settings backend ---------------------------------------------------- */

static int cfg_set(const char *name, size_t len, settings_read_cb read_cb, void *cb_arg)
{
	if (strcmp(name, "net") != 0) {
		return -ENOENT;
	}
	struct link_cfg tmp;

	if (len != sizeof(tmp)) {
		LOG_WRN("saved config is a different size (%u, expected %u) — ignoring",
			(unsigned)len, (unsigned)sizeof(tmp));
		return 0;
	}
	if (read_cb(cb_arg, &tmp, sizeof(tmp)) != sizeof(tmp) || tmp.version != LINK_CFG_VERSION) {
		LOG_WRN("saved config unreadable or old version — using defaults");
		return 0;
	}
	g_cfg = tmp;
	g_loaded_from_nvm = true;
	return 0;
}

SETTINGS_STATIC_HANDLER_DEFINE(link, "link", NULL, cfg_set, NULL, NULL);

int link_cfg_init(void)
{
	defaults(&g_cfg);
	int err = settings_subsys_init();

	if (err) {
		LOG_ERR("settings init failed (%d) — running on defaults", err);
	} else {
		settings_load_subtree("link");
	}
	g_pending = g_cfg;
	return err;
}

const struct link_cfg *link_cfg(void) { return &g_cfg; }

const char *link_cfg_name(void)
{
	static char fallback[8];

	if (g_cfg.name[0]) {
		return g_cfg.name;
	}
	snprintk(fallback, sizeof(fallback), "gw-%02u", g_cfg.index);
	return fallback;
}

void link_cfg_ip_str(const uint8_t a[4], char *out, size_t n)
{
	snprintk(out, n, "%u.%u.%u.%u", a[0], a[1], a[2], a[3]);
}

/* ---- shell ---------------------------------------------------------------- */

static int parse_ip(const char *s, uint8_t out[4])
{
	unsigned a, b, c, d;
	char tail;

	if (sscanf(s, "%u.%u.%u.%u%c", &a, &b, &c, &d, &tail) != 4 ||
	    a > 255 || b > 255 || c > 255 || d > 255) {
		return -EINVAL;
	}
	out[0] = a; out[1] = b; out[2] = c; out[3] = d;
	return 0;
}

static void show(const struct shell *sh, const char *title, const struct link_cfg *c)
{
	char ip[16], mask[16], rt[16], srv[16];

	link_cfg_ip_str(c->ip, ip, sizeof(ip));
	link_cfg_ip_str(c->mask, mask, sizeof(mask));
	link_cfg_ip_str(c->router, rt, sizeof(rt));
	link_cfg_ip_str(c->server, srv, sizeof(srv));
	shell_print(sh, "%s", title);
	if (c->name[0]) {
		shell_print(sh, "  name    %s  (index %u)", c->name, c->index);
	} else {
		shell_print(sh, "  name    gw-%02u  (unnamed; index %u)", c->index, c->index);
	}
	shell_print(sh, "  ip      %s  mask %s  router %s", ip, mask, rt);
	shell_print(sh, "  server  %s:%u", srv, c->server_port);
}

static int c_config(const struct shell *sh, size_t argc, char **argv)
{
	ARG_UNUSED(argc); ARG_UNUSED(argv);
	show(sh, g_loaded_from_nvm ? "Running (from saved config):" : "Running (defaults — nothing saved):", &g_cfg);
	if (memcmp(&g_pending, &g_cfg, sizeof(g_cfg)) != 0) {
		show(sh, "Pending (not yet saved — 'link save' then 'link reboot'):", &g_pending);
	}
	return 0;
}

static int c_index(const struct shell *sh, size_t argc, char **argv)
{
	ARG_UNUSED(argc);
	long n = strtol(argv[1], NULL, 10);

	if (n < 1 || n > 30) {
		shell_error(sh, "index must be 1-30");
		return -EINVAL;
	}
	g_pending.index = (uint8_t)n;
	shell_print(sh, "name will be gw-%02ld", n);
	return 0;
}

/*
 * The name travels in HELLO as `gw=<name>` and becomes the zone id in the
 * API, so it is restricted to characters that survive both: no spaces,
 * nothing a URL or the line protocol would need escaping for. A pretty
 * display name ("Bar — north door") is set in the Aura Server console.
 */
static int c_name(const struct shell *sh, size_t argc, char **argv)
{
	ARG_UNUSED(argc);
	const char *n = argv[1];
	size_t len = strlen(n);

	if (strcmp(n, "-") == 0) {
		g_pending.name[0] = '\0';
		shell_print(sh, "name cleared; will be gw-%02u", g_pending.index);
		return 0;
	}
	if (len == 0 || len > LINK_NAME_MAX) {
		shell_error(sh, "name must be 1-%d characters", LINK_NAME_MAX);
		return -EINVAL;
	}
	for (size_t i = 0; i < len; i++) {
		char c = n[i];

		if (!((c >= 'a' && c <= 'z') || (c >= 'A' && c <= 'Z') ||
		      (c >= '0' && c <= '9') || c == '-' || c == '_')) {
			shell_error(sh, "name may use letters, digits, - and _ only (e.g. bar-north)");
			return -EINVAL;
		}
	}
	memcpy(g_pending.name, n, len + 1);
	shell_print(sh, "name will be %s", g_pending.name);
	return 0;
}

static int c_ip(const struct shell *sh, size_t argc, char **argv)
{
	struct link_cfg c = g_pending;

	if (parse_ip(argv[1], c.ip) ||
	    (argc > 2 && parse_ip(argv[2], c.mask)) ||
	    (argc > 3 && parse_ip(argv[3], c.router))) {
		shell_error(sh, "usage: link set ip <a.b.c.d> [mask] [router]");
		return -EINVAL;
	}
	/* If only the address was given, assume a /24 with the router at .1 —
	 * right for almost every office or home network, and what someone typing
	 * one argument expects. Say so, so it is not a surprise. */
	if (argc == 2) {
		c.mask[0] = 255; c.mask[1] = 255; c.mask[2] = 255; c.mask[3] = 0;
		memcpy(c.router, c.ip, 3); c.router[3] = 1;
		shell_print(sh, "assuming mask 255.255.255.0, router %u.%u.%u.1",
			    c.ip[0], c.ip[1], c.ip[2]);
	}
	g_pending = c;
	return 0;
}

static int c_server(const struct shell *sh, size_t argc, char **argv)
{
	uint8_t s[4];

	if (parse_ip(argv[1], s)) {
		shell_error(sh, "usage: link set server <a.b.c.d> [port]");
		return -EINVAL;
	}
	memcpy(g_pending.server, s, 4);
	if (argc > 2) {
		long p = strtol(argv[2], NULL, 10);

		if (p < 1 || p > 65535) {
			shell_error(sh, "port must be 1-65535");
			return -EINVAL;
		}
		g_pending.server_port = (uint16_t)p;
	}
	return 0;
}

static int c_save(const struct shell *sh, size_t argc, char **argv)
{
	ARG_UNUSED(argc); ARG_UNUSED(argv);
	/* Same-subnet check: the most common mistake, and silent otherwise —
	 * the Link would sit amber forever trying to reach a server it can only
	 * get to through a router that may not exist. Warn, don't refuse:
	 * routed setups are legitimate. */
	bool same = true;

	for (int i = 0; i < 4; i++) {
		if ((g_pending.ip[i] & g_pending.mask[i]) != (g_pending.server[i] & g_pending.mask[i])) {
			same = false;
		}
	}
	if (!same) {
		shell_warn(sh, "note: server is not on this Link's subnet — it will be reached via the router");
	}

	g_pending.version = LINK_CFG_VERSION;
	int err = settings_save_one("link/net", &g_pending, sizeof(g_pending));

	if (err) {
		shell_error(sh, "save failed (%d)", err);
		return err;
	}
	shell_print(sh, "saved. 'link reboot' to apply.");
	return 0;
}

static int c_defaults(const struct shell *sh, size_t argc, char **argv)
{
	ARG_UNUSED(argc); ARG_UNUSED(argv);
	int err = settings_delete("link/net");

	defaults(&g_pending);
	shell_print(sh, err ? "nothing was saved; pending reset to defaults"
			    : "saved config erased. 'link reboot' to apply defaults.");
	return 0;
}

static int c_reboot(const struct shell *sh, size_t argc, char **argv)
{
	ARG_UNUSED(argc); ARG_UNUSED(argv);
	shell_print(sh, "rebooting…");
	k_msleep(100);               /* let the line reach the terminal */
	sys_reboot(SYS_REBOOT_COLD);
	return 0;
}

SHELL_STATIC_SUBCMD_SET_CREATE(link_set_cmds,
	SHELL_CMD_ARG(name,   NULL, "<name> e.g. bar-north ('-' to clear)", c_name, 2, 0),
	SHELL_CMD_ARG(index,  NULL, "<1-30> downlink stagger slot; gw-NN if unnamed", c_index, 2, 0),
	SHELL_CMD_ARG(ip,     NULL, "<ip> [mask] [router] this Link's address", c_ip, 2, 2),
	SHELL_CMD_ARG(server, NULL, "<ip> [port] where Aura Server listens (default port 9000)", c_server, 2, 1),
	SHELL_SUBCMD_SET_END
);

/* Registered under `link` alongside `locate` (status.c). */
SHELL_SUBCMD_ADD((link), config,   NULL, "show running and pending network config", c_config, 1, 0);
SHELL_SUBCMD_ADD((link), set,      &link_set_cmds, "change config (then save + reboot)", NULL, 1, 0);
SHELL_SUBCMD_ADD((link), save,     NULL, "write pending config to NVM", c_save, 1, 0);
SHELL_SUBCMD_ADD((link), defaults, NULL, "erase saved config", c_defaults, 1, 0);
SHELL_SUBCMD_ADD((link), reboot,   NULL, "restart to apply saved config", c_reboot, 1, 0);
```

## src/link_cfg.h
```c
/* Aura Link network configuration — set over USB, kept in NVM. See link_cfg.c. */
#ifndef LINK_CFG_H
#define LINK_CFG_H

#include <stdint.h>
#include <stddef.h>

#define LINK_CFG_VERSION 1
#define LINK_NAME_MAX    20

struct link_cfg {
	uint8_t  version;
	uint8_t  index;        /* 1..30: name gw-NN, stagger slot, local port */
	uint8_t  ip[4];
	uint8_t  mask[4];
	uint8_t  router[4];
	uint8_t  server[4];
	uint16_t server_port;
	char     name[LINK_NAME_MAX + 1]; /* "" = use gw-NN */
};

/* Load saved config (or defaults). Call once, before the link thread starts. */
int link_cfg_init(void);

/* The config this boot is running with. Never changes until reboot. */
const struct link_cfg *link_cfg(void);

/* The id this Link announces in HELLO: its name, or gw-NN if unnamed. */
const char *link_cfg_name(void);

void link_cfg_ip_str(const uint8_t a[4], char *out, size_t n);

#endif
```

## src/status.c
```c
/*
 * Aura Link status light — the XIAO's onboard RGB LED.
 *
 * A gateway in a venue ceiling has no console attached. Before this, the only
 * way to tell a healthy Link from one with a bad cable, a wrong server
 * address or a dead W5500 was to plug in USB and read the log. Now it says so
 * itself:
 *
 *   solid blue           booting, W5500 not yet up
 *   red, fast blink      W5500 not answering on SPI — hardware or seating
 *   red, short pulse/s   no Ethernet link — cable, switch port or PoE
 *   amber, blink         Ethernet up, server not answering on 10.10.0.1:9000
 *   green, solid         online
 *     + blue flicker     hearing devices (one blip per tick with traffic)
 *     + white flash      transmitting a command to the fleet
 *   white, fast flash    LOCATE — `link locate <s>` from the console or the
 *                        server, to find which physical Link is which
 *
 * The three LEDs are plain GPIO (no PWM on this board's RGB), so everything
 * is on/off at a 10 Hz tick on its own thread. The radio path only ever sets
 * an atomic flag — net_recv_data() runs on the 802.15.4 driver thread and
 * must not touch a GPIO, let alone wait.
 */

#include <zephyr/kernel.h>
#include <zephyr/drivers/gpio.h>
#include <zephyr/sys/atomic.h>
#include <zephyr/shell/shell.h>
#include <stdlib.h>

#include "status.h"

#define TICK_MS 100

static const struct gpio_dt_spec led_b = GPIO_DT_SPEC_GET(DT_ALIAS(led0), gpios);
static const struct gpio_dt_spec led_r = GPIO_DT_SPEC_GET(DT_ALIAS(led1), gpios);
static const struct gpio_dt_spec led_g = GPIO_DT_SPEC_GET(DT_ALIAS(led2), gpios);

static atomic_t g_state = ATOMIC_INIT(STATUS_BOOT);
static atomic_t g_rx;
static atomic_t g_tx_ticks;
static atomic_t g_locate_ticks;
static bool     g_ready;

void status_set(enum status_state s) { atomic_set(&g_state, s); }
void status_rx(void)                 { atomic_set(&g_rx, 1); }
void status_tx(void)                 { atomic_set(&g_tx_ticks, 2); }

void status_locate(uint32_t seconds)
{
	atomic_set(&g_locate_ticks, (atomic_val_t)(seconds * (1000 / TICK_MS)));
}

static void paint(bool r, bool g, bool b)
{
	gpio_pin_set_dt(&led_r, r);
	gpio_pin_set_dt(&led_g, g);
	gpio_pin_set_dt(&led_b, b);
}

static void status_thread(void *a, void *b, void *c)
{
	ARG_UNUSED(a); ARG_UNUSED(b); ARG_UNUSED(c);
	uint32_t t = 0;

	for (;; t++, k_msleep(TICK_MS)) {
		/* LOCATE overrides everything: it is a person on a ladder. */
		if (atomic_get(&g_locate_ticks) > 0) {
			atomic_dec(&g_locate_ticks);
			bool on = (t & 1) == 0;

			paint(on, on, on);
			continue;
		}

		switch ((enum status_state)atomic_get(&g_state)) {
		case STATUS_BOOT:
			paint(false, false, true);
			break;
		case STATUS_FAULT:              /* 2.5 Hz */
			paint((t % 4) < 2, false, false);
			break;
		case STATUS_NO_ETH:             /* 100 ms pulse each second */
			paint((t % 10) == 0, false, false);
			break;
		case STATUS_NO_SERVER: {        /* 1 Hz, 50% */
			bool on = (t % 10) < 5;

			paint(on, on, false);
			break;
		}
		case STATUS_ONLINE:
		default:
			if (atomic_get(&g_tx_ticks) > 0) {
				atomic_dec(&g_tx_ticks);
				paint(true, true, true);
			} else if (atomic_cas(&g_rx, 1, 0)) {
				paint(false, true, true);
			} else {
				paint(false, true, false);
			}
			break;
		}
	}
}

K_THREAD_STACK_DEFINE(status_stack, 512);
static struct k_thread status_thread_data;

int status_init(void)
{
	if (!gpio_is_ready_dt(&led_r) || !gpio_is_ready_dt(&led_g) ||
	    !gpio_is_ready_dt(&led_b)) {
		return -ENODEV;
	}
	gpio_pin_configure_dt(&led_r, GPIO_OUTPUT_INACTIVE);
	gpio_pin_configure_dt(&led_g, GPIO_OUTPUT_INACTIVE);
	gpio_pin_configure_dt(&led_b, GPIO_OUTPUT_INACTIVE);
	g_ready = true;

	/* Lowest priority that still runs: the light must never steal time
	 * from the radio or the link. */
	k_thread_create(&status_thread_data, status_stack,
			K_THREAD_STACK_SIZEOF(status_stack), status_thread,
			NULL, NULL, NULL, K_LOWEST_APPLICATION_THREAD_PRIO, 0,
			K_NO_WAIT);
	k_thread_name_set(&status_thread_data, "status");
	return 0;
}

/* ---- shell: reachable from the server too, because downlink is the shell */

static int c_locate(const struct shell *sh, size_t argc, char **argv)
{
	uint32_t s = (argc > 1) ? (uint32_t)strtoul(argv[1], NULL, 10) : 10;

	if (s > 300) {
		s = 300;
	}
	if (!g_ready) {
		shell_error(sh, "status LED not available");
		return -ENODEV;
	}
	status_locate(s);
	shell_print(sh, "locate: flashing white for %u s", s);
	return 0;
}

/* `link` is a section-based command set so link_cfg.c can add its own
 * subcommands (config/set/save/reboot) without this file knowing about them. */
SHELL_SUBCMD_SET_CREATE(link_cmds, (link));
SHELL_SUBCMD_ADD((link), locate, NULL, "[seconds] flash this Link's LED white (default 10)",
		 c_locate, 1, 1);
SHELL_CMD_REGISTER(link, &link_cmds, "Aura Link commands", NULL);
```

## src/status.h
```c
/* Aura Link status light. See status.c for the colour table. */
#ifndef GW_STATUS_H
#define GW_STATUS_H

#include <stdint.h>

enum status_state {
	STATUS_BOOT,       /* W5500 not up yet            solid blue  */
	STATUS_FAULT,      /* W5500 not answering on SPI  red fast    */
	STATUS_NO_ETH,     /* no Ethernet link            red pulse   */
	STATUS_NO_SERVER,  /* link up, server unreachable amber blink */
	STATUS_ONLINE,     /* connected to Aura Server    green       */
};

int  status_init(void);
void status_set(enum status_state s);

/* Safe from any context, including the 802.15.4 receive path: each only
 * sets an atomic that the status thread consumes. */
void status_rx(void);        /* heard a device frame          */
void status_tx(void);        /* sent a command to the fleet   */
void status_locate(uint32_t seconds);

#endif
```
